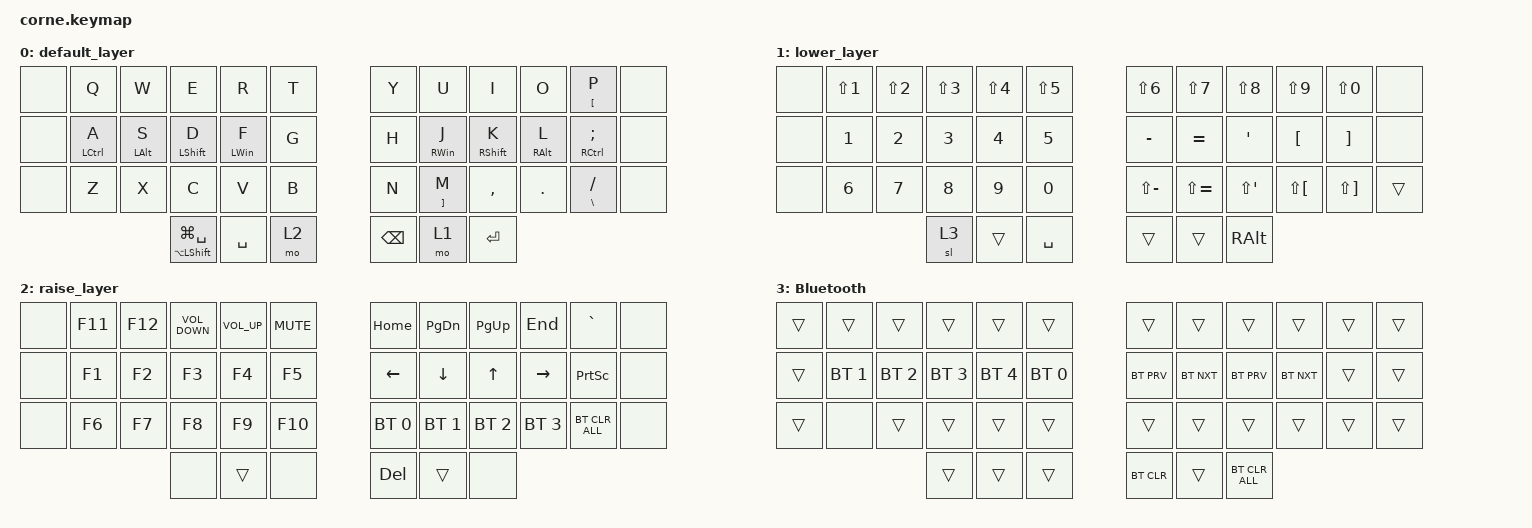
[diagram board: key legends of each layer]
/*
 * Copyright (c) 2020 The ZMK Contributors
 *
 * SPDX-License-Identifier: MIT
 */

#include <behaviors.dtsi>
#include <dt-bindings/zmk/bt.h>
#include <dt-bindings/zmk/keys.h>

/ {
    combos {
        compatible = "zmk,combos";

        combo_esc {
            timeout-ms = <50>;
            key-positions = <5 4>;
            bindings = <&kp ESC>;
        };

        Tab {
            bindings = <&kp TAB>;
            key-positions = <6 7>;
        };
    };

    behaviors {
        ss_hs_modmorph: ss_hs_modmorph {
            compatible = "zmk,behavior-mod-morph";
            label = "SS_HS_MODMORPH";
            bindings = <&kp M>, <&kp RIGHT_BRACKET>;

            #binding-cells = <0>;
            mods = <(MOD_LSFT|MOD_RSFT)>;
        };

        kh_hs_tapdance: kh_hs_tapdance {
            compatible = "zmk,behavior-tap-dance";
            label = "KH_HS_TAPDANCE";
            #binding-cells = <0>;
            tapping-term-ms = <200>;
            bindings = <&kp LEFT_BRACKET>, <&kp RIGHT_BRACKET>;
        };

        hrm: hrm {
            compatible = "zmk,behavior-hold-tap";
            #binding-cells = <2>;
            flavor = "tap-preferred";
            tapping-term-ms = <200>;
            quick-tap-ms = <200>;
            require-prior-idle-ms = <125>;
            bindings = <&kp>, <&kp>;
        };
    };

    keymap {
        compatible = "zmk,keymap";

        default_layer {
            // -----------------------------------------------------------------------------------------
            // |  TAB |  Q  |  W  |  E  |  R  |  T  |   |  Y  |  U   |  I  |  O  |  P  | BKSP |
            // | CTRL |  A  |  S  |  D  |  F  |  G  |   |  H  |  J   |  K  |  L  |  ;  |  '   |
            // | SHFT |  Z  |  X  |  C  |  V  |  B  |   |  N  |  M   |  ,  |  .  |  /  | ESC  |
            //                    | GUI | LWR | SPC |   | ENT | RSE  | ALT |

            bindings = <
&none  &kp Q         &kp W            &kp E                     &kp R            &kp T    &kp Y          &kp U                 &kp I               &kp O             &hrm LBKT P                   &none
&none  &hrm LCTRL A  &hrm LEFT_ALT S  &hrm LEFT_SHIFT D         &hrm LEFT_WIN F  &kp G    &kp H          &hrm RIGHT_WIN J      &hrm RIGHT_SHIFT K  &hrm RIGHT_ALT L  &hrm RIGHT_CONTROL SEMICOLON  &none
&none  &kp Z         &kp X            &kp C                     &kp V            &kp B    &kp N          &hrm RIGHT_BRACKET M  &kp COMMA           &kp DOT           &hrm BACKSLASH SLASH          &none
                                      &hrm LA(LSHFT) LG(SPACE)  &kp SPACE        &mo 2    &kp BACKSPACE  &mo 1                 &kp ENTER
            >;
        };

        lower_layer {
            // -----------------------------------------------------------------------------------------
            // |  TAB |  1  |  2  |  3  |  4  |  5  |   |  6  |  7  |  8  |  9  |  0  | BKSP |
            // | BTCLR| BT1 | BT2 | BT3 | BT4 | BT5 |   | LFT | DWN |  UP | RGT |     |      |
            // | SHFT |     |     |     |     |     |   |     |     |     |     |     |      |
            //                    | GUI |     | SPC |   | ENT |     | ALT |

            bindings = <
&none  &kp LS(N1)    &kp LS(N2)    &kp LS(N3)    &kp LS(N4)    &kp LS(N5)    &kp LS(N6)     &kp LS(N7)     &kp LS(N8)            &kp LS(N9)            &kp LS(N0)             &none
&none  &kp NUMBER_1  &kp NUMBER_2  &kp NUMBER_3  &kp NUMBER_4  &kp N5        &kp MINUS      &kp EQUAL      &kp SINGLE_QUOTE      &kp LEFT_BRACKET      &kp RIGHT_BRACKET      &none
&none  &kp NUMBER_6  &kp N7        &kp N8        &kp N9        &kp N0        &kp LS(MINUS)  &kp LS(EQUAL)  &kp LS(SINGLE_QUOTE)  &kp LS(LEFT_BRACKET)  &kp LS(RIGHT_BRACKET)  &trans
                                   &sl 3         &trans        &kp SPACE     &trans         &trans         &kp RALT
            >;
        };

        raise_layer {
            // -----------------------------------------------------------------------------------------
            // |  TAB |  !  |  @  |  #  |  $  |  %  |   |  ^  |  &  |  *  |  (  |  )  | BKSP |
            // | CTRL |     |     |     |     |     |   |  -  |  =  |  [  |  ]  |  \  |  `   |
            // | SHFT |     |     |     |     |     |   |  _  |  +  |  {  |  }  | "|" |  ~   |
            //                    | GUI |     | SPC |   | ENT |     | ALT |

            bindings = <
&none  &kp F11  &kp F12  &kp C_VOLUME_DOWN  &kp C_VOLUME_UP  &kp K_MUTE    &kp HOME      &kp PAGE_DOWN   &kp PAGE_UP   &kp END          &kp GRAVE        &none
&none  &kp F1   &kp F2   &kp F3             &kp F4           &kp F5        &kp LEFT      &kp DOWN_ARROW  &kp UP        &kp RIGHT_ARROW  &kp PRINTSCREEN  &none
&none  &kp F6   &kp F7   &kp F8             &kp F9           &kp F10       &bt BT_SEL 0  &bt BT_SEL 1    &bt BT_SEL 2  &bt BT_SEL 3     &bt BT_CLR_ALL   &none
                         &none              &trans           &none         &kp DELETE    &trans          &none
            >;
        };

        layer_3 {
            bindings = <
&trans  &trans        &trans        &trans        &trans        &trans          &trans      &trans      &trans          &trans      &trans  &trans
&trans  &bt BT_SEL 1  &bt BT_SEL 2  &bt BT_SEL 3  &bt BT_SEL 4  &bt BT_SEL 0    &bt BT_PRV  &bt BT_NXT  &bt BT_PRV      &bt BT_NXT  &trans  &trans
&trans  &none         &trans        &trans        &trans        &trans          &trans      &trans      &trans          &trans      &trans  &trans
                                    &trans        &trans        &trans          &bt BT_CLR  &trans      &bt BT_CLR_ALL
            >;

            label = "Bluetooth";
        };
    };
};
